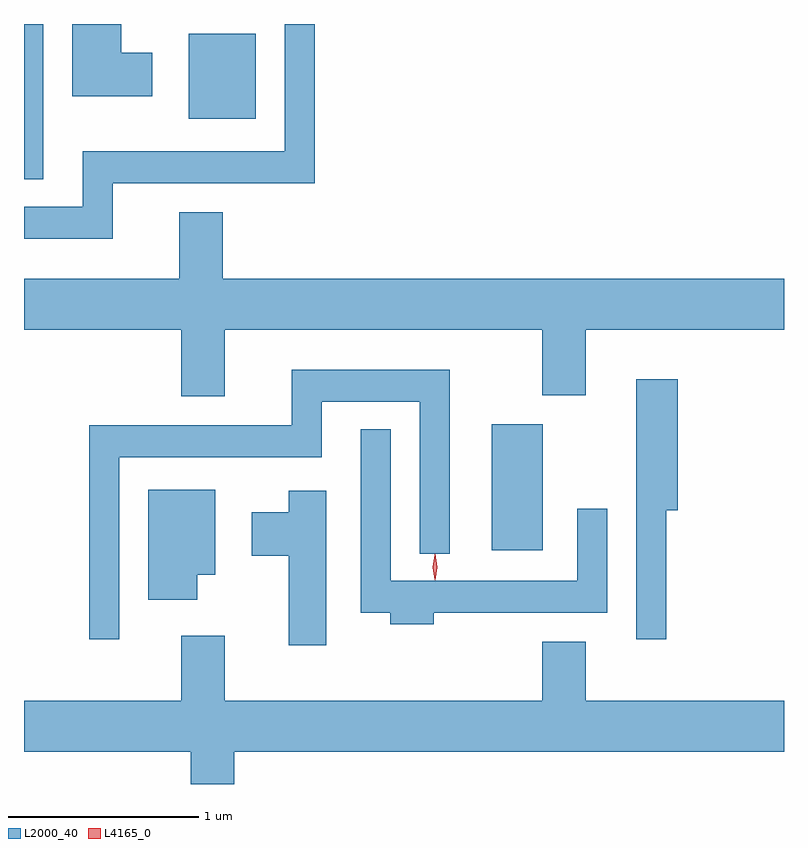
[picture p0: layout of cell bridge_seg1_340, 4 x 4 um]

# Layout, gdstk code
import gdstk
lib = gdstk.Library(unit=1e-6, precision=1e-09)
def R(c, l, rs):  # rectangles x0, y0, x1, y1
    for r in rs: c.add(gdstk.rectangle(r[:2], r[2:], *l))
def P(c, l, *ps):  # polygons
    for p in ps: c.add(gdstk.Polygon(p, *l))
L2000_40 = (2000, 40)
L4165_0 = (4165, 0)

bridge_seg1_340 = lib.new_cell('bridge_seg1_340')
R(bridge_seg1_340, L2000_40, [(937.496,882.876,937.764,883.539), (935.033,884.828,935.134,885.645), (935.901,885.146,936.254,885.594)])
P(bridge_seg1_340, L2000_40, [(935.709,885.494),(935.544,885.494),(935.544,885.645),(935.286,885.645),(935.286,885.266),(935.709,885.266)],
  [(935.499,884.806),(936.564,884.806),(936.564,885.645),(936.406,885.645),(936.406,884.974),(935.341,884.974),(935.341,884.684),(935.033,884.684),(935.033,884.516),(935.499,884.516)],
  [(936.089,884.036),(937.761,884.036),(937.761,883.691),(937.989,883.691),(937.989,884.036),(939.033,884.036),(939.033,884.304),(936.079,884.304),(936.079,884.654),(935.851,884.654),(935.851,884.304),(935.033,884.304),(935.033,884.036),(935.861,884.036),(935.861,883.686),(936.089,883.686)],
  [(935.534,883.366),(936.599,883.366),(936.599,883.656),(937.116,883.656),(937.116,882.858),(937.274,882.858),(937.274,883.824),(936.441,883.824),(936.441,883.534),(935.376,883.534),(935.376,882.408),(935.534,882.408)],
  [(938.414,883.086),(938.474,883.086),(938.474,883.774),(938.256,883.774),(938.256,882.408),(938.414,882.408)],
  [(937.189,882.546),(938.104,882.546),(938.104,883.093),(937.946,883.093),(937.946,882.714),(936.964,882.714),(936.964,883.513),(936.806,883.513),(936.806,882.546),(936.961,882.546),(936.961,882.486),(937.189,882.486)],
  [(935.944,882.746),(936.039,882.746),(936.039,883.194),(935.686,883.194),(935.686,882.616),(935.944,882.616)],
  [(936.624,883.189),(936.426,883.189),(936.426,883.074),(936.231,883.074),(936.231,882.846),(936.426,882.846),(936.426,882.376),(936.624,882.376)],
  [(936.139,881.816),(939.033,881.816),(939.033,882.084),(937.989,882.084),(937.989,882.394),(937.761,882.394),(937.761,882.084),(936.089,882.084),(936.089,882.424),(935.861,882.424),(935.861,882.084),(935.033,882.084),(935.033,881.816),(935.911,881.816),(935.911,881.645),(936.139,881.645)])
P(bridge_seg1_340, L4165_0, [(937.197,882.717),(937.188,882.787),(937.197,882.856),(937.198,882.856),(937.198,882.856),(937.208,882.787),(937.198,882.717),(937.198,882.717)],
  [(937.195,882.719),(937.195,882.72),(937.185,882.786),(937.195,882.852),(937.195,882.853),(937.196,882.852),(937.205,882.786),(937.196,882.72)])

lib.write_gds('bridge_seg1_340.gds')
